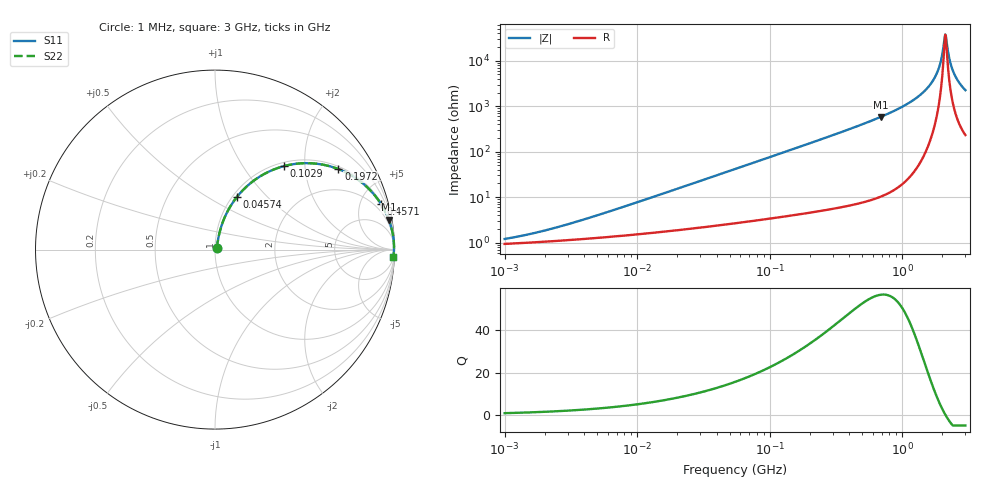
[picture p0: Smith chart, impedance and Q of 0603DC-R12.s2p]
# MHz  S  MA  R  50
!Freq  MagS11  AngS11  MagS21  AngS21  MagS12  AngS12  MagS22  AngS22
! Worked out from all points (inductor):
!   801 points, 1 MHz to 3 GHz, reference 50 ohm
!   read as one part in series: L = 120 nH near 5.06 MHz
!   highest Q = 56.8 at 689 MHz (marker M1), where L = 134 nH
!   self-resonance near 2.113 GHz
!   S11 on the Smith chart (normalised r, x): 1 MHz: 1.02, +0.02; 45.74 MHz: 1.05, +0.69; 102.9 MHz: 1.07, +1.56; 197.2 MHz: 1.09, +3.00; 457.1 MHz: 1.14, +7.23; 3 GHz: 6, -45
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1  0.01188 38.5  0.9907 -0.4  0.9907 -0.4  0.01188 38.5
3.823119  0.0308 66.0  0.9878 -1.6  0.9878 -1.6  0.0308 66.0
14.47069  0.108 75.1  0.9778 -6.1  0.9778 -6.1  0.108 75.1
45.74308  0.3199 67.3  0.9248 -18.6  0.9248 -18.6  0.3199 67.3
54.77226  0.3742 64.4  0.9037 -21.9  0.9037 -21.9  0.3742 64.4
102.8925  0.6016 50.6  0.7729 -36.9  0.7729 -36.9  0.6016 50.6
197.1969  0.8209 33.1  0.5471 -55.1  0.5471 -55.1  0.8209 33.1
209.4008  0.8364 31.6  0.5244 -56.7  0.5244 -56.7  0.8364 31.6
457.0858  0.959 15.4  0.2653 -73.5  0.2653 -73.5  0.959 15.4
688.9699  0.9826 9.7  0.1692 -79.3  0.1692 -79.3  0.9826 9.7
792.5923  0.9873 8.2  0.1421 -80.8  0.1421 -80.8  0.9873 8.2
1218.836  0.9955 4.2  0.07252 -84.4  0.07252 -84.4  0.9955 4.2
1596.974  0.9974 2.1  0.03587 -84.8  0.03587 -84.8  0.9974 2.1
1855.641  0.9976 1.0  0.01683 -81.4  0.01683 -81.4  0.9976 1.0
1950.859  0.9976 0.6  0.01066 -76.7  0.01066 -76.7  0.9976 0.6
2071.593  0.9975 0.2  0.003854 -48.7  0.003854 -48.7  0.9975 0.2
2113.475  0.9974 0.0  0.002635 -8.9  0.002635 -8.9  0.9974 0.0
2177.892  0.9973 -0.2  0.004297 50.7  0.004297 50.7  0.9973 -0.2
2312.676  0.997 -0.6  0.01122 74.1  0.01122 74.1  0.997 -0.6
2455.801  0.9966 -1.1  0.01863 78.9  0.01863 78.9  0.9966 -1.1
2687.267  0.9958 -1.7  0.02997 81.1  0.02997 81.1  0.9958 -1.7
3000  0.9945 -2.5  0.04417 81.6  0.04417 81.6  0.9945 -2.5
